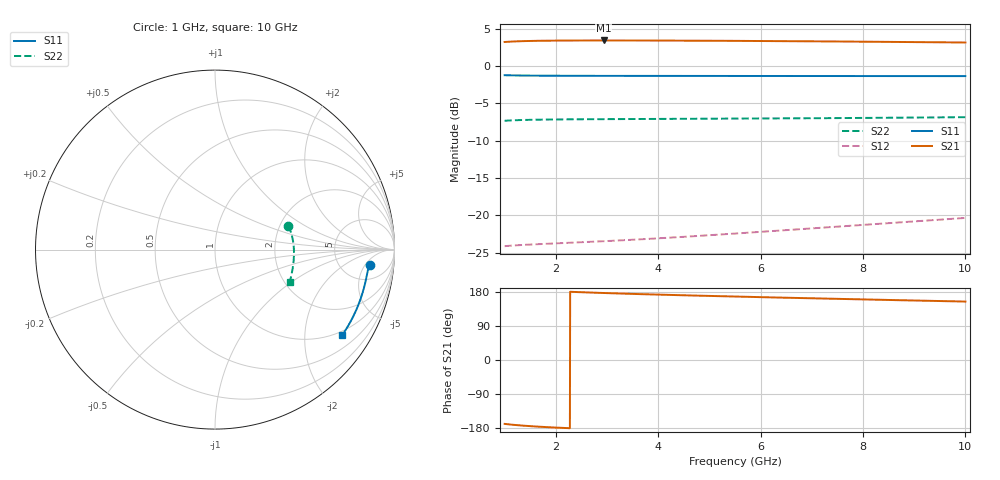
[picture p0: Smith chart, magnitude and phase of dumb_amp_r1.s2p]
!2-port S-parameter file
!Title: ** sch_path: /home/andylithia/openmpw/project-yatsuhashi-chip1/xschem/dumb_amp_r1_2.sch
!Generated by ngspice at Fri Aug  5 22:00:46  2022
# Hz S RI R 50
!freq  ReS11  ImS11  ReS21  ImS21  ReS12  ImS12  ReS22  ImS22
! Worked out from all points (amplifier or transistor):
!   1001 points, 1 GHz to 10 GHz, reference 50 ohm
!   highest |S21| = 3.4 dB at 2.938 GHz (marker M1)
!   |S21| within 3 dB of that: start of sweep to end of sweep
!   unconditionally stable (mu >= 1): start of sweep to end of sweep
!   at 1.466 GHz: K = 1.52, MAG = 9.4 dB, |S12| = -23.9 dB
!   at 3.162 GHz: K = 1.45, MAG = 9.4 dB, |S12| = -23.4 dB
!   at 10 GHz: K = 1.04, MAG = 10.6 dB, |S12| = -20.4 dB
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1e9  0.8616 -0.0861  -1.417 -0.2864  0.0587 0.0201  0.4085 0.1322
1.145513e9  0.8592 -0.0897  -1.437 -0.2347  0.0596 0.0192  0.4172 0.1118
1.279381e9  0.8574 -0.0937  -1.449 -0.1942  0.0602 0.0186  0.4229 0.096
1.435489e9  0.8556 -0.0989  -1.46 -0.1536  0.0608 0.0182  0.4276 0.0804
1.606941e9  0.8539 -0.1052  -1.467 -0.115  0.0613 0.018  0.4312 0.0658
1.798871e9  0.8522 -0.1128  -1.473 -0.0774  0.0617 0.0181  0.4341 0.0519
2.009093e9  0.8504 -0.1216  -1.477 -0.0411  0.0621 0.0183  0.4362 0.0386
2.243882e9  0.8484 -0.1317  -1.479 -0.0051  0.0626 0.0187  0.4378 0.0258
2.500345e9  0.8461 -0.1432  -1.48 0.0302  0.063 0.0194  0.439 0.0134
2.710192e9  0.8442 -0.1528  -1.479 0.0567  0.0633 0.02  0.4396 0.00431
2.93765e9  0.842 -0.1633  -1.478 0.0835  0.0637 0.0207  0.4399 -0.00479
3.435579e9  0.8367 -0.1865  -1.474 0.1372  0.0645 0.0225  0.4401 -0.0226
4.008667e9  0.8299 -0.2136  -1.466 0.193  0.0655 0.0247  0.4396 -0.0407
4.72063e9  0.8202 -0.2471  -1.453 0.2562  0.067 0.0276  0.4382 -0.0607
5.508077e9  0.8078 -0.2838  -1.436 0.3206  0.0688 0.0309  0.4361 -0.081
6.237348e9  0.795 -0.3173  -1.417 0.3765  0.0706 0.0339  0.4337 -0.0985
7.014553e9  0.7798 -0.3521  -1.395 0.4329  0.0728 0.0371  0.4308 -0.1161
7.762471e9  0.7639 -0.3848  -1.372 0.4844  0.0751 0.04  0.4277 -0.1324
8.51138e9  0.7467 -0.4164  -1.347 0.5335  0.0776 0.0429  0.4243 -0.1482
9.571941e9  0.7203 -0.4595  -1.308 0.5991  0.0814 0.0467  0.4192 -0.1697
9.885531e9  0.7122 -0.4717  -1.296 0.6176  0.0825 0.0477  0.4176 -0.1759
1e10  0.7091 -0.4762  -1.291 0.6243  0.083 0.0481  0.417 -0.1782
